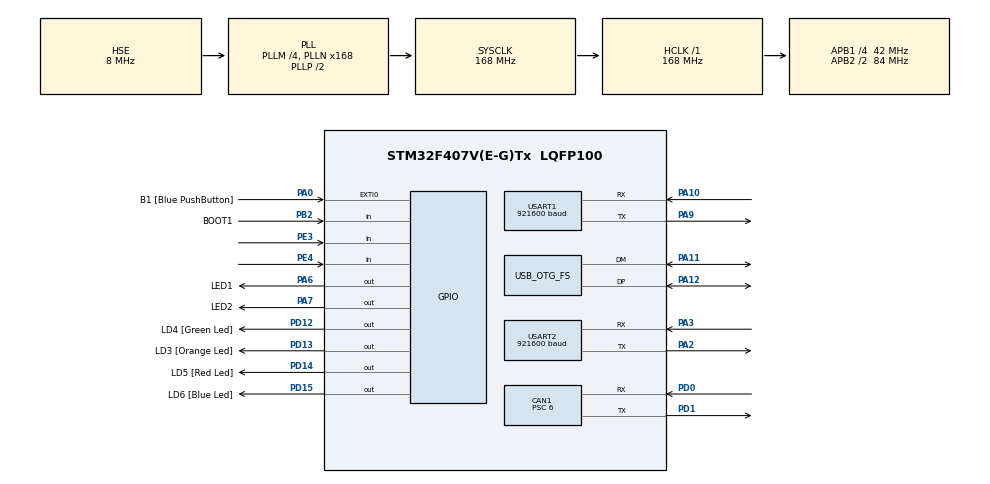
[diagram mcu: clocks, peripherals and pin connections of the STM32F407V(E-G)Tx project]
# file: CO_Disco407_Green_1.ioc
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CAN1.BS1=CAN_BS1_11TQ
CAN1.BS2=CAN_BS2_2TQ
CAN1.CalculateBaudRate=500000
CAN1.CalculateTimeBit=2000
CAN1.CalculateTimeQuantum=142.85714285714286
CAN1.Prescaler=6
Dma.Request0=USART1_RX
Dma.Request1=USART1_TX
Dma.Request2=USART2_TX
Dma.Request3=USART2_RX
Dma.USART1_RX.0.Direction=DMA_PERIPH_TO_MEMORY
Dma.USART1_RX.0.FIFOMode=DMA_FIFOMODE_DISABLE
Dma.USART1_RX.0.Instance=DMA2_Stream2
Dma.USART1_RX.0.MemDataAlignment=DMA_MDATAALIGN_BYTE
Dma.USART1_RX.0.MemInc=DMA_MINC_ENABLE
Dma.USART1_RX.0.Mode=DMA_NORMAL
Dma.USART1_RX.0.PeriphDataAlignment=DMA_PDATAALIGN_BYTE
Dma.USART1_RX.0.PeriphInc=DMA_PINC_DISABLE
Dma.USART1_RX.0.Priority=DMA_PRIORITY_LOW
Dma.USART1_TX.1.Direction=DMA_MEMORY_TO_PERIPH
Dma.USART1_TX.1.FIFOMode=DMA_FIFOMODE_DISABLE
Dma.USART1_TX.1.Instance=DMA2_Stream7
Dma.USART1_TX.1.MemDataAlignment=DMA_MDATAALIGN_BYTE
Dma.USART1_TX.1.MemInc=DMA_MINC_ENABLE
Dma.USART1_TX.1.Mode=DMA_NORMAL
Dma.USART1_TX.1.PeriphDataAlignment=DMA_PDATAALIGN_BYTE
Dma.USART1_TX.1.PeriphInc=DMA_PINC_DISABLE
Dma.USART1_TX.1.Priority=DMA_PRIORITY_LOW
Dma.USART2_RX.3.Direction=DMA_PERIPH_TO_MEMORY
Dma.USART2_RX.3.FIFOMode=DMA_FIFOMODE_DISABLE
Dma.USART2_RX.3.Instance=DMA1_Stream5
Dma.USART2_RX.3.MemDataAlignment=DMA_MDATAALIGN_BYTE
Dma.USART2_RX.3.MemInc=DMA_MINC_ENABLE
Dma.USART2_RX.3.Mode=DMA_NORMAL
Dma.USART2_RX.3.PeriphDataAlignment=DMA_PDATAALIGN_BYTE
Dma.USART2_RX.3.PeriphInc=DMA_PINC_DISABLE
Dma.USART2_RX.3.Priority=DMA_PRIORITY_LOW
Dma.USART2_TX.2.Direction=DMA_MEMORY_TO_PERIPH
Dma.USART2_TX.2.FIFOMode=DMA_FIFOMODE_DISABLE
Dma.USART2_TX.2.Instance=DMA1_Stream6
Dma.USART2_TX.2.MemDataAlignment=DMA_MDATAALIGN_BYTE
Dma.USART2_TX.2.MemInc=DMA_MINC_ENABLE
Dma.USART2_TX.2.Mode=DMA_NORMAL
Dma.USART2_TX.2.PeriphDataAlignment=DMA_PDATAALIGN_BYTE
Dma.USART2_TX.2.PeriphInc=DMA_PINC_DISABLE
Dma.USART2_TX.2.Priority=DMA_PRIORITY_LOW
Mcu.Family=STM32F4
Mcu.Name=STM32F407V(E-G)Tx
Mcu.Package=LQFP100
NVIC.CAN1_RX0_IRQn=true\:0\:0\:false\:false\:true\:true\:true\:true
NVIC.CAN1_RX1_IRQn=true\:0\:0\:false\:false\:true\:true\:true\:true
NVIC.CAN1_SCE_IRQn=true\:0\:0\:false\:false\:true\:true\:true\:true
NVIC.CAN1_TX_IRQn=true\:0\:0\:false\:false\:true\:true\:true\:true
NVIC.DMA1_Stream5_IRQn=true\:0\:0\:false\:false\:true\:false\:true\:true
NVIC.DMA1_Stream6_IRQn=true\:0\:0\:false\:false\:true\:false\:true\:true
NVIC.DMA2_Stream2_IRQn=true\:0\:0\:false\:false\:true\:false\:true\:true
NVIC.DMA2_Stream7_IRQn=true\:0\:0\:false\:false\:true\:false\:true\:true
NVIC.OTG_FS_IRQn=true\:0\:0\:false\:false\:true\:false\:true\:true
NVIC.PriorityGroup=NVIC_PRIORITYGROUP_0
NVIC.TIM4_IRQn=true\:0\:0\:false\:false\:true\:true\:true\:true
NVIC.TIM8_TRG_COM_TIM14_IRQn=true\:0\:0\:false\:false\:true\:true\:true\:true
NVIC.USART1_IRQn=true\:0\:0\:false\:false\:true\:true\:true\:true
NVIC.USART2_IRQn=true\:0\:0\:false\:false\:true\:true\:true\:true
PA0-WKUP.GPIO_Label=B1 [Blue PushButton]
PA0-WKUP.GPIO_ModeDefaultEXTI=GPIO_MODE_EVT_RISING
PA0-WKUP.GPIO_PuPd=GPIO_NOPULL
PA0-WKUP.Signal=GPXTI0
PA10.Mode=Asynchronous
PA10.Signal=USART1_RX
PA11.Mode=Device_Only
PA11.Signal=USB_OTG_FS_DM
PA12.Mode=Device_Only
PA12.Signal=USB_OTG_FS_DP
PA13.GPIO_Label=SWDIO
PA13.Mode=Serial_Wire
PA13.Signal=SYS_JTMS-SWDIO
PA14.GPIO_Label=SWCLK
PA14.Mode=Serial_Wire
PA14.Signal=SYS_JTCK-SWCLK
PA2.Mode=Asynchronous
PA2.Signal=USART2_TX
PA3.Mode=Asynchronous
PA3.Signal=USART2_RX
PA6.GPIO_Label=LED1
PA6.PinState=GPIO_PIN_SET
PA6.Signal=GPIO_Output
PA7.GPIO_Label=LED2
PA7.PinState=GPIO_PIN_SET
PA7.Signal=GPIO_Output
PA9.Mode=Asynchronous
PA9.Signal=USART1_TX
PB2.GPIO_Label=BOOT1
PB2.GPIO_Mode=GPIO_MODE_INPUT
PB2.GPIO_PuPd=GPIO_NOPULL
PB2.Signal=GPIO_Input
PB3.GPIO_Label=SWO
PB3.Signal=SYS_JTDO-SWO
PB5.Signal=CAN2_RX
PC14-OSC32_IN.GPIO_Label=PC14-OSC32_IN
PC14-OSC32_IN.Mode=LSE-External-Oscillator
PC14-OSC32_IN.Signal=RCC_OSC32_IN
PC15-OSC32_OUT.GPIO_Label=PC15-OSC32_OUT
PC15-OSC32_OUT.Mode=LSE-External-Oscillator
PC15-OSC32_OUT.Signal=RCC_OSC32_OUT
PD0.Mode=CAN_Activate
PD0.Signal=CAN1_RX
PD1.Mode=CAN_Activate
PD1.Signal=CAN1_TX
PD12.GPIO_Label=LD4 [Green Led]
PD12.GPIO_PuPd=GPIO_NOPULL
PD12.GPIO_Speed=GPIO_SPEED_FREQ_LOW
PD12.Signal=GPIO_Output
PD13.GPIO_Label=LD3 [Orange Led]
PD13.GPIO_PuPd=GPIO_NOPULL
PD13.GPIO_Speed=GPIO_SPEED_FREQ_LOW
PD13.Signal=GPIO_Output
PD14.GPIO_Label=LD5 [Red Led]
PD14.GPIO_PuPd=GPIO_NOPULL
PD14.GPIO_Speed=GPIO_SPEED_FREQ_LOW
PD14.Signal=GPIO_Output
PD15.GPIO_Label=LD6 [Blue Led]
PD15.GPIO_PuPd=GPIO_NOPULL
PD15.GPIO_Speed=GPIO_SPEED_FREQ_LOW
PD15.Signal=GPIO_Output
PE3.GPIO_PuPd=GPIO_PULLUP
PE3.Signal=GPIO_Input
PE4.GPIO_PuPd=GPIO_PULLUP
PE4.Signal=GPIO_Input
PH0-OSC_IN.GPIO_Label=PH0-OSC_IN
PH0-OSC_IN.Mode=HSE-External-Oscillator
PH0-OSC_IN.Signal=RCC_OSC_IN
PH1-OSC_OUT.GPIO_Label=PH1-OSC_OUT
PH1-OSC_OUT.Mode=HSE-External-Oscillator
PH1-OSC_OUT.Signal=RCC_OSC_OUT
ProjectManager.HeapSize=0x800
ProjectManager.StackSize=0x800
ProjectManager.TargetToolchain=STM32CubeIDE
RCC.48MHZClocksFreq_Value=48000000
RCC.AHBFreq_Value=168000000
RCC.APB1CLKDivider=RCC_HCLK_DIV4
RCC.APB1Freq_Value=42000000
RCC.APB1TimFreq_Value=84000000
RCC.APB2CLKDivider=RCC_HCLK_DIV2
RCC.APB2Freq_Value=84000000
RCC.APB2TimFreq_Value=168000000
RCC.CortexFreq_Value=168000000
RCC.HCLKFreq_Value=168000000
RCC.HSE_VALUE=8000000
RCC.HSI_VALUE=16000000
RCC.PLLI2SN=50
RCC.PLLM=4
RCC.PLLN=168
RCC.PLLQ=7
RCC.SYSCLKFreq_VALUE=168000000
RCC.SYSCLKSource=RCC_SYSCLKSOURCE_PLLCLK
RCC.VCOOutputFreq_Value=336000000
TIM14.Period=999
TIM14.Prescaler=167
TIM4.Period=999
TIM4.Prescaler=167
TIM4.TIM_MasterOutputTrigger=TIM_TRGO_UPDATE
USART1.BaudRate=921600
USART1.StopBits=STOPBITS_2
USART1.VirtualMode=VM_ASYNC
USART2.BaudRate=921600
USART2.StopBits=STOPBITS_2
USART2.VirtualMode=VM_ASYNC
USB_DEVICE.APP_RX_DATA_SIZE-CDC_FS=2048
USB_DEVICE.CLASS_NAME_FS=CDC
USB_DEVICE.VirtualMode-CDC_FS=Cdc
USB_DEVICE.VirtualModeFS=Cdc_FS
USB_OTG_FS.VirtualMode=Device_Only
VP_TIM14_VS_ClockSourceINT.Mode=Enable_Timer
VP_TIM4_VS_ClockSourceINT.Mode=Internal
VP_USB_DEVICE_VS_USB_DEVICE_CDC_FS.Mode=CDC_FS
board=STM32F407G-DISC1

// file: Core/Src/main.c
/* USER CODE BEGIN Header */
/**
  ******************************************************************************
  * @file           : main.c
  * @brief          : Main program body
  ******************************************************************************
  * @attention
  *
  * Copyright (c) 2024 STMicroelectronics.
  * All rights reserved.
  *
  * This software is licensed under terms that can be found in the LICENSE file
  * in the root directory of this software component.
  * If no LICENSE file comes with this software, it is provided AS-IS.
  *
  *
  *		Discovery_F407green__EvolutionBoard_Original
  *
  *			NodeID = 0x3E
  *
  ******************************************************************************
  */
/* USER CODE END Header */
#include "main.h"
#include "usb_device.h"

/* USER CODE BEGIN Includes */
#include "CO_app_STM32.h"
#include "301/CO_SDOclient.h"
#include "CANopen.h"
#include "OD.h"
#include "format_out.h"
/* USER CODE END Includes */

/* USER CODE BEGIN PD */

#define CO_Aliex_Disco407green	0x3A
#define CO_Disco407_Blue		0x3b
#define CO_Lower__f407xx		0x3c
#define CO_Upper_F407XX			0x3d
#define CO_Disco407_Green_1		0x3e

#define Make_Read_SDO			1
#define TerminalInterface		huart2
/* USER CODE END PD */

CAN_HandleTypeDef hcan1;

TIM_HandleTypeDef htim4;
TIM_HandleTypeDef htim14;

UART_HandleTypeDef huart1;
UART_HandleTypeDef huart2;
DMA_HandleTypeDef hdma_usart1_rx;
DMA_HandleTypeDef hdma_usart1_tx;
DMA_HandleTypeDef hdma_usart2_tx;
DMA_HandleTypeDef hdma_usart2_rx;

/* USER CODE BEGIN PV */

uint8_t Tx_Array[16]={0x5a,0x6b,0x7c,0x86,0x5f,0x43,0x8e,0x58,0x69,0x70,0x81,0x92,0xf3,0xc4,0xc5,0xc3};
uint8_t Rx_Array[16]={0x43,0x8e,0x58,0x69,0x70};
uint32_t Array_32u[16]={0};
uint8_t Array_8u[16]={0x54,0x34,0x21,0xea,0xf3,0x7a,0xd4,0x46};
char Message_to_Terminal[128]={};
uint8_t Length_of_Message;
uint8_t Length_of_Ext_Var=0;
uint8_t Local_Count=0;

CO_SDO_abortCode_t  Code_return_SDO;
CAN_TxHeaderTypeDef Tx_Header;
uint32_t            TxMailbox;
uint32_t            tmp32u_1   = 0x1e1f1a1b;
uint32_t            tmp32u_0   = 0x0e0f0a0b;
uint64_t            tmp64u_0   = 0x0e1f1a1b56789a;
uint64_t            tmp64u_1   = 0x0e1f1a1b56789a;
uint32_t            Ticks;
char String_L[]={"String_for_Test_UART_"};
/* USER CODE END PV */

void SystemClock_Config(void);
static void MX_GPIO_Init(void);
static void MX_DMA_Init(void);
static void MX_TIM14_Init(void);
static void MX_CAN1_Init(void);
static void MX_USART1_UART_Init(void);
static void MX_USART2_UART_Init(void);
static void MX_TIM4_Init(void);
/* USER CODE BEGIN PFP */
void CAN_interface_Test(void);
void UART_interface_Test(void);
void GPIO_Blink_Test(GPIO_TypeDef* GPIOx, uint16_t GPIO_Pin, uint8_t Count_of_Blink, uint16_t Period_of_blink_ms);
void Board_Name_to_Terminal(void);
void CO_Init_Return_State(uint16_t Returned_Code);
void SDO_abortCode_ASCII_to_Terminal(void);

CO_SDO_abortCode_t	read_SDO	(
								  CO_SDOclient_t* SDO_C,
								  uint8_t nodeId, 	//Remote_NodeID
								  uint16_t index,	//OD_Index_of_entire_at_Remote_NodeID
								  uint8_t subIndex, // OD_SubIndex_of_entire_at_Remote_NodeID
								  uint8_t* buf, 	//Saved_Data_Array
								  size_t bufSize, 	//Number_of_Bytes_Read_from_Remote_NodeID
								  size_t* readSize 	//pointer_at_Number_of_Bytes_to_save
								  );

CO_SDO_abortCode_t	write_SDO 	(
								CO_SDOclient_t* SDO_C,
								uint8_t nodeId, 	//Remote_NodeID
								uint16_t index,	//OD_Index_of_entire_at_Remote_NodeID
								uint8_t subIndex, // OD_SubIndex_of_entire_at_Remote_NodeID
								uint8_t* data,	//Data_Array_to_write_into_entire_at_Remote_NodeID
								size_t dataSize	//Number_of_Bytes_write_into_entire_at_Remote_NodeID
								);

/* USER CODE END PFP */

/* USER CODE BEGIN 0 */
/* Timer interrupt function executes every 1 ms */
void
HAL_TIM_PeriodElapsedCallback(TIM_HandleTypeDef* htim) {
    if (htim == canopenNodeSTM32->timerHandle) {
        canopen_app_interrupt();

    }
}

/* USER CODE END 0 */

int main(void)
{

  /* MCU Configuration--------------------------------------------------------*/

  /* Reset of all peripherals, Initializes the Flash interface and the Systick. */
  HAL_Init();

  /* Configure the system clock */
  SystemClock_Config();

  /* Initialize all configured peripherals */
  MX_GPIO_Init();
  MX_DMA_Init();
  MX_TIM14_Init();
  MX_CAN1_Init();
  MX_USART1_UART_Init();
  MX_USB_DEVICE_Init();
  MX_USART2_UART_Init();
  MX_TIM4_Init();
  /* USER CODE BEGIN 2 */

  /* CANHandle : Pass in the CAN Handle to this function and it wil be used for all CAN Communications.
   * It can be FDCan or CAN and CANOpenSTM32 Driver will take of care of handling that
   *
   * HWInitFunction : Pass in the function that initialize the CAN peripheral, usually MX_CAN_Init
   *
   * timerHandle : Pass in the timer that is going to be used for generating 1ms interrupt for tmrThread function,
   * please note that CANOpenSTM32 Library will override HAL_TIM_PeriodElapsedCallback function,
   * if you also need this function in your codes, please take required steps
   *
   * desiredNodeID : This is the Node ID that you ask the CANOpen stack to assign to your device, although it might not always
   * be the final NodeID, after calling canopen_app_init() you should check ActiveNodeID of CANopenNodeSTM32 structure for assigned Node ID.
   *
   * baudrate: This is the baudrate you've set in your CubeMX Configuration
   *
   */

//  UART_interface_Test(); while(1){;}
//  CAN_interface_Test();

//   GPIO_Blink_Test(GPIOA, GPIO_PIN_7|GPIO_PIN_6, 25, 33); //for_STM32F4XX_Ali_pcb
  GPIO_Blink_Test(GPIOD, GPIO_PIN_12|GPIO_PIN_13|GPIO_PIN_14|GPIO_PIN_15, 25, 33);// blink_at_Discovery_EVB

  Board_Name_to_Terminal();

   HAL_TIM_Base_Start_IT(&htim4);

   CANopenNodeSTM32 canOpenNodeSTM32;
   canOpenNodeSTM32.CANHandle = &hcan1;
   canOpenNodeSTM32.HWInitFunction = MX_CAN1_Init;
   canOpenNodeSTM32.timerHandle = &htim4;
   canOpenNodeSTM32.desiredNodeID = CO_Disco407_Green_1;//		0x3e
   canOpenNodeSTM32.baudrate = 125*4;
   uint16_t Ret_value = canopen_app_init(&canOpenNodeSTM32);
   CO_Init_Return_State(Ret_value);

  /* USER CODE END 2 */

  /* Infinite loop */
  /* USER CODE BEGIN WHILE */

#if Make_Read_SDO
   canopen_app_process();

	  read_SDO (
			    canOpenNodeSTM32.canOpenStack->SDOclient,
				CO_Disco407_Blue,							//Remote_NodeID=0x3b
				0x600E,										//Index_of_OD_variable_Disco_Blue_VAR64_600e_TX at_remote_Node
				0,											//Sub_Index_of_OD_variable
				Rx_Array,									//Saved_Received_Data
				4,											//Number_of_Byte_to_read
				(size_t*)&Length_of_Ext_Var );  HAL_Delay(100);

	  write_SDO(
			    canOpenNodeSTM32.canOpenStack->SDOclient,
				CO_Disco407_Blue,							//Remote_NodeID=0x3b
				0x600E,										//Index_of_OD_variable_Disco_Blue_VAR64_600e_TX at_remote_Node
				0,											//Sub_Index_of_OD_variablee
				Array_8u,									//Data_Source
				4);	  HAL_Delay(100);

	  read_SDO (
			    canOpenNodeSTM32.canOpenStack->SDOclient,
				CO_Disco407_Blue,							//Remote_NodeID=0x3b
				0x600E,										//Index_of_OD_variable_Disco_Blue_VAR64_600e_TX at_remote_Node
				0,											//Sub_Index_of_OD_variable
				Rx_Array,									//Saved_Received_Data
				4,											//Number_of_Byte_to_read
				(size_t*)&Length_of_Ext_Var );  HAL_Delay(100);

	  TerminalInterface.gState = HAL_UART_STATE_READY;
	  HAL_UART_Transmit_DMA( &TerminalInterface, (uint8_t*)Rx_Array, 8);
      HAL_Delay(100);
#endif

      Local_Count=0;
		  OD_PERSIST_COMM.x6000_ALiex_Disco_VAR32_6000=0;

		  while (1)
		  {
			 // HAL_GPIO_WritePin(GPIOA, GPIO_PIN_6, !canOpenNodeSTM32.outStatusLEDGreen);
			  HAL_GPIO_WritePin(GPIOD, GPIO_PIN_12, !canOpenNodeSTM32.outStatusLEDGreen);
			 // HAL_GPIO_WritePin(GPIOA, GPIO_PIN_7, !canOpenNodeSTM32.outStatusLEDRed  );//yellow
			  HAL_GPIO_WritePin(GPIOD, GPIO_PIN_14, !canOpenNodeSTM32.outStatusLEDRed  );
//		         HAL_GPIO_TogglePin(GPIOA, GPIO_PIN_6 );//LED1_Pin___//LED1_GPIO_Port//green

			canopen_app_process();

//			if(tmp32u_1 != OD_PERSIST_COMM.x6001_nucleo_VAR32_6001)
//				{
//				tmp32u_1 = OD_PERSIST_COMM.x6001_nucleo_VAR32_6001;
//				TerminalInterface.gState = HAL_UART_STATE_READY;
//				HAL_UART_Transmit_DMA( &TerminalInterface, (uint8_t*)(&tmp32u_1), 4);
//				}

			  if(HAL_GetTick() - Ticks>749)
			  {
				Ticks = HAL_GetTick();

				OD_PERSIST_COMM.x6000_ALiex_Disco_VAR32_6000++;

				tmp32u_0 = OD_PERSIST_COMM.x6000_ALiex_Disco_VAR32_6000;

				//CO_TPDOsendRequest(&canOpenNodeSTM32.canOpenStack->TPDO[0] );

				TerminalInterface.gState = HAL_UART_STATE_READY;
				HAL_UART_Transmit_DMA( &TerminalInterface, (uint8_t*)( &tmp32u_0 ), 4);

				Local_Count++;
				Local_Count = Local_Count%4;

				if(Local_Count==0){
									OD_PERSIST_COMM.x6039_ALiex_Disco_Array[0]++;
								  }

				CO_TPDOsendRequest(&canOpenNodeSTM32.canOpenStack->TPDO[Local_Count] );
			  }

    /* USER CODE END WHILE */

  }
}

void SystemClock_Config(void)
{
  RCC_OscInitTypeDef RCC_OscInitStruct = {0};
  RCC_ClkInitTypeDef RCC_ClkInitStruct = {0};

  /** Configure the main internal regulator output voltage
  */
  __HAL_RCC_PWR_CLK_ENABLE();
  __HAL_PWR_VOLTAGESCALING_CONFIG(PWR_REGULATOR_VOLTAGE_SCALE1);

  /** Initializes the RCC Oscillators according to the specified parameters
  * in the RCC_OscInitTypeDef structure.
  */
  RCC_OscInitStruct.OscillatorType = RCC_OSCILLATORTYPE_HSE;
  RCC_OscInitStruct.HSEState = RCC_HSE_ON;
  RCC_OscInitStruct.PLL.PLLState = RCC_PLL_ON;
  RCC_OscInitStruct.PLL.PLLSource = RCC_PLLSOURCE_HSE;
  RCC_OscInitStruct.PLL.PLLM = 4;
  RCC_OscInitStruct.PLL.PLLN = 168;
  RCC_OscInitStruct.PLL.PLLP = RCC_PLLP_DIV2;
  RCC_OscInitStruct.PLL.PLLQ = 7;
  if (HAL_RCC_OscConfig(&RCC_OscInitStruct) != HAL_OK)
  {
    Error_Handler();
  }

  /** Initializes the CPU, AHB and APB buses clocks
  */
  RCC_ClkInitStruct.ClockType = RCC_CLOCKTYPE_HCLK|RCC_CLOCKTYPE_SYSCLK
                              |RCC_CLOCKTYPE_PCLK1|RCC_CLOCKTYPE_PCLK2;
  RCC_ClkInitStruct.SYSCLKSource = RCC_SYSCLKSOURCE_PLLCLK;
  RCC_ClkInitStruct.AHBCLKDivider = RCC_SYSCLK_DIV1;
  RCC_ClkInitStruct.APB1CLKDivider = RCC_HCLK_DIV4;
  RCC_ClkInitStruct.APB2CLKDivider = RCC_HCLK_DIV2;

  if (HAL_RCC_ClockConfig(&RCC_ClkInitStruct, FLASH_LATENCY_5) != HAL_OK)
  {
    Error_Handler();
  }
}

static void MX_CAN1_Init(void)
{

  hcan1.Instance = CAN1;
  hcan1.Init.Prescaler = 6;
  hcan1.Init.Mode = CAN_MODE_NORMAL;
  hcan1.Init.SyncJumpWidth = CAN_SJW_1TQ;
  hcan1.Init.TimeSeg1 = CAN_BS1_11TQ;
  hcan1.Init.TimeSeg2 = CAN_BS2_2TQ;
  hcan1.Init.TimeTriggeredMode = DISABLE;
  hcan1.Init.AutoBusOff = DISABLE;
  hcan1.Init.AutoWakeUp = DISABLE;
  hcan1.Init.AutoRetransmission = DISABLE;
  hcan1.Init.ReceiveFifoLocked = DISABLE;
  hcan1.Init.TransmitFifoPriority = DISABLE;
  if (HAL_CAN_Init(&hcan1) != HAL_OK)
  {
    Error_Handler();
  }

}

static void MX_TIM4_Init(void)
{

  TIM_ClockConfigTypeDef sClockSourceConfig = {0};
  TIM_MasterConfigTypeDef sMasterConfig = {0};

  htim4.Instance = TIM4;
  htim4.Init.Prescaler = 167;
  htim4.Init.CounterMode = TIM_COUNTERMODE_UP;
  htim4.Init.Period = 999;
  htim4.Init.ClockDivision = TIM_CLOCKDIVISION_DIV1;
  htim4.Init.AutoReloadPreload = TIM_AUTORELOAD_PRELOAD_DISABLE;
  if (HAL_TIM_Base_Init(&htim4) != HAL_OK)
  {
    Error_Handler();
  }
  sClockSourceConfig.ClockSource = TIM_CLOCKSOURCE_INTERNAL;
  if (HAL_TIM_ConfigClockSource(&htim4, &sClockSourceConfig) != HAL_OK)
  {
    Error_Handler();
  }
  sMasterConfig.MasterOutputTrigger = TIM_TRGO_UPDATE;
  sMasterConfig.MasterSlaveMode = TIM_MASTERSLAVEMODE_DISABLE;
  if (HAL_TIMEx_MasterConfigSynchronization(&htim4, &sMasterConfig) != HAL_OK)
  {
    Error_Handler();
  }

}

static void MX_TIM14_Init(void)
{

  htim14.Instance = TIM14;
  htim14.Init.Prescaler = 167;
  htim14.Init.CounterMode = TIM_COUNTERMODE_UP;
  htim14.Init.Period = 999;
  htim14.Init.ClockDivision = TIM_CLOCKDIVISION_DIV1;
  htim14.Init.AutoReloadPreload = TIM_AUTORELOAD_PRELOAD_DISABLE;
  if (HAL_TIM_Base_Init(&htim14) != HAL_OK)
  {
    Error_Handler();
  }

}

static void MX_USART1_UART_Init(void)
{

  huart1.Instance = USART1;
  huart1.Init.BaudRate = 921600;
  huart1.Init.WordLength = UART_WORDLENGTH_8B;
  huart1.Init.StopBits = UART_STOPBITS_2;
  huart1.Init.Parity = UART_PARITY_NONE;
  huart1.Init.Mode = UART_MODE_TX_RX;
  huart1.Init.HwFlowCtl = UART_HWCONTROL_NONE;
  huart1.Init.OverSampling = UART_OVERSAMPLING_16;
  if (HAL_UART_Init(&huart1) != HAL_OK)
  {
    Error_Handler();
  }

}

static void MX_USART2_UART_Init(void)
{

  huart2.Instance = USART2;
  huart2.Init.BaudRate = 921600;
  huart2.Init.WordLength = UART_WORDLENGTH_8B;
  huart2.Init.StopBits = UART_STOPBITS_2;
  huart2.Init.Parity = UART_PARITY_NONE;
  huart2.Init.Mode = UART_MODE_TX_RX;
  huart2.Init.HwFlowCtl = UART_HWCONTROL_NONE;
  huart2.Init.OverSampling = UART_OVERSAMPLING_16;
  if (HAL_UART_Init(&huart2) != HAL_OK)
  {
    Error_Handler();
  }

}

static void MX_DMA_Init(void)
{

  /* DMA controller clock enable */
  __HAL_RCC_DMA2_CLK_ENABLE();
  __HAL_RCC_DMA1_CLK_ENABLE();

  /* DMA interrupt init */
  /* DMA1_Stream5_IRQn interrupt configuration */
  HAL_NVIC_SetPriority(DMA1_Stream5_IRQn, 0, 0);
  HAL_NVIC_EnableIRQ(DMA1_Stream5_IRQn);
  /* DMA1_Stream6_IRQn interrupt configuration */
  HAL_NVIC_SetPriority(DMA1_Stream6_IRQn, 0, 0);
  HAL_NVIC_EnableIRQ(DMA1_Stream6_IRQn);
  /* DMA2_Stream2_IRQn interrupt configuration */
  HAL_NVIC_SetPriority(DMA2_Stream2_IRQn, 0, 0);
  HAL_NVIC_EnableIRQ(DMA2_Stream2_IRQn);
  /* DMA2_Stream7_IRQn interrupt configuration */
  HAL_NVIC_SetPriority(DMA2_Stream7_IRQn, 0, 0);
  HAL_NVIC_EnableIRQ(DMA2_Stream7_IRQn);

}

static void MX_GPIO_Init(void)
{
  GPIO_InitTypeDef GPIO_InitStruct = {0};

  /* GPIO Ports Clock Enable */
  __HAL_RCC_GPIOE_CLK_ENABLE();
  __HAL_RCC_GPIOC_CLK_ENABLE();
  __HAL_RCC_GPIOH_CLK_ENABLE();
  __HAL_RCC_GPIOA_CLK_ENABLE();
  __HAL_RCC_GPIOB_CLK_ENABLE();
  __HAL_RCC_GPIOD_CLK_ENABLE();

  /*Configure GPIO pin Output Level */
  HAL_GPIO_WritePin(GPIOA, LED1_Pin|LED2_Pin, GPIO_PIN_SET);

  /*Configure GPIO pin Output Level */
  HAL_GPIO_WritePin(GPIOD, LD4_Pin|LD3_Pin|LD5_Pin|LD6_Pin, GPIO_PIN_RESET);

  /*Configure GPIO pins : PE3 PE4 */
  GPIO_InitStruct.Pin = GPIO_PIN_3|GPIO_PIN_4;
  GPIO_InitStruct.Mode = GPIO_MODE_INPUT;
  GPIO_InitStruct.Pull = GPIO_PULLUP;
  HAL_GPIO_Init(GPIOE, &GPIO_InitStruct);

  /*Configure GPIO pin : B1_Pin */
  GPIO_InitStruct.Pin = B1_Pin;
  GPIO_InitStruct.Mode = GPIO_MODE_EVT_RISING;
  GPIO_InitStruct.Pull = GPIO_NOPULL;
  HAL_GPIO_Init(B1_GPIO_Port, &GPIO_InitStruct);

  /*Configure GPIO pins : LED1_Pin LED2_Pin */
  GPIO_InitStruct.Pin = LED1_Pin|LED2_Pin;
  GPIO_InitStruct.Mode = GPIO_MODE_OUTPUT_PP;
  GPIO_InitStruct.Pull = GPIO_NOPULL;
  GPIO_InitStruct.Speed = GPIO_SPEED_FREQ_LOW;
  HAL_GPIO_Init(GPIOA, &GPIO_InitStruct);

  /*Configure GPIO pin : BOOT1_Pin */
  GPIO_InitStruct.Pin = BOOT1_Pin;
  GPIO_InitStruct.Mode = GPIO_MODE_INPUT;
  GPIO_InitStruct.Pull = GPIO_NOPULL;
  HAL_GPIO_Init(BOOT1_GPIO_Port, &GPIO_InitStruct);

  /*Configure GPIO pins : LD4_Pin LD3_Pin LD5_Pin LD6_Pin */
  GPIO_InitStruct.Pin = LD4_Pin|LD3_Pin|LD5_Pin|LD6_Pin;
  GPIO_InitStruct.Mode = GPIO_MODE_OUTPUT_PP;
  GPIO_InitStruct.Pull = GPIO_NOPULL;
  GPIO_InitStruct.Speed = GPIO_SPEED_FREQ_LOW;
  HAL_GPIO_Init(GPIOD, &GPIO_InitStruct);

  /*Configure GPIO pin : PB5 */
  GPIO_InitStruct.Pin = GPIO_PIN_5;
  GPIO_InitStruct.Mode = GPIO_MODE_AF_PP;
  GPIO_InitStruct.Pull = GPIO_NOPULL;
  GPIO_InitStruct.Speed = GPIO_SPEED_FREQ_VERY_HIGH;
  GPIO_InitStruct.Alternate = GPIO_AF9_CAN2;
  HAL_GPIO_Init(GPIOB, &GPIO_InitStruct);

}

/* USER CODE BEGIN 4 */

//////////////////////////////////////////////////////////////////////////////////////////////////////////////

CO_SDO_abortCode_t	read_SDO	(
								  CO_SDOclient_t* SDO_C,
								  uint8_t nodeId, 	//Remote_NodeID
								  uint16_t index,	//OD_Index_of_entire_at_Remote_NodeID
								  uint8_t subIndex, // OD_SubIndex_of_entire_at_Remote_NodeID
								  uint8_t* buf, 	//Saved_Data_Array
								  size_t bufSize, 	//Number_of_Bytes_Read_from_Remote_NodeID
								  size_t* readSize 	//pointer_at_Number_of_Bytes_to_save
								  )
{
    CO_SDO_return_t SDO_ret;

    // setup client (this can be skipped, if remote device don't change)
    SDO_ret = CO_SDOclient_setup (
    								SDO_C, CO_CAN_ID_SDO_CLI + nodeId,
									CO_CAN_ID_SDO_SRV + nodeId,
									nodeId);

    if (SDO_ret != CO_SDO_RT_ok_communicationEnd) { return CO_SDO_AB_GENERAL; }

    // initiate upload
    SDO_ret = CO_SDOclientUploadInitiate ( SDO_C,
    										index,
											subIndex,
											1000,
											false);

    if (SDO_ret != CO_SDO_RT_ok_communicationEnd) { return CO_SDO_AB_GENERAL; }

    // upload data
    do 	{
        uint32_t timeDifference_us = 10000;
        CO_SDO_abortCode_t abortCode = CO_SDO_AB_NONE;

        SDO_ret = CO_SDOclientUpload(SDO_C, timeDifference_us, false, &abortCode, NULL, NULL, NULL);

        if (SDO_ret < 0) {  return abortCode;  }

        HAL_Delay(timeDifference_us/1000);// sleep_us(timeDifference_us);

    	} while (SDO_ret > 0);

    // copy data to the user buffer (for long data function must be called several times inside the loop)
    *readSize = CO_SDOclientUploadBufRead(SDO_C, buf, bufSize);

    return CO_SDO_AB_NONE;
}

//////////////////////////////////////////////////////////////////////////////////////////////////////////////

CO_SDO_abortCode_t	write_SDO 	(
								CO_SDOclient_t* SDO_C,
								uint8_t nodeId, 	// Remote_NodeID
								uint16_t index,		// OD_Index_of_entire_at_Remote_NodeID
								uint8_t subIndex, 	// OD_SubIndex_of_entire_at_Remote_NodeID
								uint8_t* data,		// Data_Array_to_write_into_entire_at_Remote_NodeID
								size_t dataSize		// Number_of_Bytes_write_into_entire_at_Remote_NodeID
								)
{
    CO_SDO_return_t SDO_ret;
    bool_t bufferPartial = false;

    // setup client (this can be skipped, if remote device is the same)
    SDO_ret = CO_SDOclient_setup (	SDO_C,
    								CO_CAN_ID_SDO_CLI + nodeId,
									CO_CAN_ID_SDO_SRV + nodeId,
									nodeId);

    if (SDO_ret != CO_SDO_RT_ok_communicationEnd) { return -1; }

    // initiate download
    SDO_ret = CO_SDOclientDownloadInitiate(SDO_C, index, subIndex, dataSize, 1000, false);

    if (SDO_ret != CO_SDO_RT_ok_communicationEnd) /**< Success, end of communication. SDO client: uploaded data must be read. */
    	{ return -1; }

    // fill data
    size_t nWritten = CO_SDOclientDownloadBufWrite(SDO_C, data, dataSize);

    if (nWritten < dataSize) { bufferPartial = true; } // If SDO Fifo buffer is too small, data can be refilled in the loop.

    // download data
    do {
        uint32_t timeDifference_us = 10000;
        CO_SDO_abortCode_t abortCode = CO_SDO_AB_NONE;

        SDO_ret = CO_SDOclientDownload (	SDO_C,
        									timeDifference_us,
											false, bufferPartial,
											&abortCode,
											NULL,
											NULL
										);

        if (SDO_ret < 0) {  return abortCode;}

        HAL_Delay(timeDifference_us/1000); //sleep_us(timeDifference_us);

       } while (SDO_ret > 0);

    return CO_SDO_AB_NONE;
}

//////////////////////////////////////////////////////////
void CAN_interface_Test(void)
{

 Tx_Header.IDE    = CAN_ID_STD;
 Tx_Header.ExtId  = 0;
 Tx_Header.DLC    = 8;
 Tx_Header.StdId  = 0x7EC;
 Tx_Header.RTR    = CAN_RTR_DATA;
 HAL_CAN_Start(&hcan1);  HAL_Delay(1500);

 if(HAL_CAN_AddTxMessage( &hcan1,
   		               &Tx_Header,
							Tx_Array, &TxMailbox )==HAL_OK
 	 )
	  {  /* Wait transmission complete */
	  //while(HAL_CAN_GetTxMailboxesFreeLevel(&hcan1) != 3) {}
		  for(uint8_t cnt=0;cnt<22;cnt++)
		  {
		   HAL_GPIO_TogglePin(LED2_GPIO_Port, LED2_Pin);//LED2_Pin//yellow
		   HAL_Delay(46);
		  }
	  }
}

//////////////////////////////////////////////

void UART_interface_Test(void)
{
	// Test_Terminal__ASCII
	  Length_of_Message = sprintf( Message_to_Terminal,
			  	  	  	  	  	  	  "Rx_Array[0]=0x%x, Rx_Array[1]= 0x%x, Rx_Array[2]= 0x%x, Rx_Array[3]= 0x%x \n\r",
									   Rx_Array[0],Rx_Array[1],Rx_Array[2],Rx_Array[3]
								 );
	  TerminalInterface.gState = HAL_UART_STATE_READY;
	  HAL_UART_Transmit_DMA( &TerminalInterface, (uint8_t*)Message_to_Terminal, Length_of_Message);

//    Test_Terminal__HEX
//
//	  HAL_Delay(500);
//	  Local_Count = sizeof String_L;
//	  String_L[Local_Count-1] = 0x0d;
//	  TerminalInterface.gState = HAL_DMA_STATE_READY;
//	  HAL_UART_Transmit_DMA( &TerminalInterface, (uint8_t*)(String_L), Local_Count);

}

//////////////////////////////////////////////

void GPIO_Blink_Test(GPIO_TypeDef* GPIOx, uint16_t GPIO_Pin, uint8_t Count_of_Blink, uint16_t Period_of_blink_ms)
{
	for(uint8_t cnt=0;cnt<Count_of_Blink;cnt++)
	{
	HAL_GPIO_TogglePin(GPIOx, GPIO_Pin );
	HAL_Delay(Period_of_blink_ms);
	}
	  //HAL_GPIO_WritePin(GPIOx, GPIO_Pin, GPIO_PIN_SET);
	  HAL_GPIO_WritePin(GPIOx, GPIO_Pin, GPIO_PIN_RESET);
}

//////////////////////////////////////////////////
void Board_Name_to_Terminal(void)
{
	const char Message_0[]={"   ******************************************\n\r"};
//	const char Message_1[]={"*  Upper Blackboard  STM32F4XX___Ali     *\n\r"};
//	const char Message_1[]={"*  Lower Blackboard  STM32F4XX___Ali     *\n\r"};
	//const char Message_1[]={"*  STM32F4DISCOVERY Green_board China    *\n\r"};
	//	const char Message_1[]={"*  STM32F4DISCOVERY Blue_board Original  *\n\r"};
		const char Message_1[]={"*  STM32F4DISCOVERY Green_board Original *\n\r"};
	char Array_for_Messages[128]={};
	uint16_t Msg_Length;
//	uint32_t Chip_ID_96bit[4]={};
//	uint16_t  *pChip_ID_96bit =(uint16_t*)Chip_ID_96bit ;

//	Chip_ID_96bit[0] = HAL_GetUIDw0();
//	Chip_ID_96bit[1] = HAL_GetUIDw1();
//	Chip_ID_96bit[2] = HAL_GetUIDw2();

	while(TerminalInterface.gState != HAL_UART_STATE_READY){;}
	Msg_Length = sizeof(Message_0);
	HAL_UART_Transmit_DMA( &TerminalInterface, (uint8_t*)Message_0, Msg_Length);

	while(TerminalInterface.gState != HAL_UART_STATE_READY){;}
	Msg_Length = sizeof(Message_1);
	HAL_UART_Transmit_DMA( &TerminalInterface, (uint8_t*)Message_1, Msg_Length);

	while(TerminalInterface.gState != HAL_UART_STATE_READY){;}
	Msg_Length = sprintf( Array_for_Messages,
			  	  	  	  "*  SystemClock = %d MHz                 *\n\r",
						  (uint16_t)(HAL_RCC_GetSysClockFreq()/1000000)
						);
	HAL_UART_Transmit_DMA( &TerminalInterface, (uint8_t*)Array_for_Messages, Msg_Length);

	while(TerminalInterface.gState != HAL_UART_STATE_READY){;}
	Msg_Length = sprintf( Array_for_Messages,
			  	  	  	  "   *  Unical_ID %X%X%X%X%X%X        *\n\r",
						  (uint16_t)(HAL_GetUIDw2()>>16),(uint16_t)(HAL_GetUIDw2() & 0x0000FFFF),
						  (uint16_t)(HAL_GetUIDw1()>>16),(uint16_t)(HAL_GetUIDw1() & 0x0000FFFF),
						  (uint16_t)(HAL_GetUIDw0()>>16),(uint16_t)(HAL_GetUIDw0() & 0x0000FFFF)

						);
	HAL_UART_Transmit_DMA( &TerminalInterface, (uint8_t*)Array_for_Messages, Msg_Length);

	while(TerminalInterface.gState != HAL_UART_STATE_READY){;}
	Msg_Length = sprintf( Array_for_Messages,
			  	  	  	  "   *  Device identifier %X%X                *\n\r",
						  (uint16_t)(HAL_GetDEVID()>>16), (uint16_t)(HAL_GetDEVID() & 0x0000FFFF)
						);
	HAL_UART_Transmit_DMA( &TerminalInterface, (uint8_t*)Array_for_Messages, Msg_Length);

	while(TerminalInterface.gState != HAL_UART_STATE_READY){;}
	Msg_Length = sprintf( Array_for_Messages,
			  	  	  	  "   *  Device revision identifier %X%X      *\n\r",
						  (uint16_t)( HAL_GetREVID()>>16 ),
						  (uint16_t)( HAL_GetREVID() & 0x0000FFFF )
						);
	HAL_UART_Transmit_DMA( &TerminalInterface, (uint8_t*)Array_for_Messages, Msg_Length);

	Msg_Length = sizeof(Message_0);
	while(TerminalInterface.gState != HAL_UART_STATE_READY){;}
	HAL_UART_Transmit_DMA( &TerminalInterface, (uint8_t*)Message_0, Msg_Length);

	while(TerminalInterface.gState != HAL_UART_STATE_READY){;}
	Array_for_Messages[0]=0x0a;		Array_for_Messages[1]=0x0d;
	Array_for_Messages[2]=0x0a;		Array_for_Messages[3]=0x0d;
	Array_for_Messages[4]=0x0a;		Array_for_Messages[5]=0x0d;
	HAL_UART_Transmit_DMA( &TerminalInterface, (uint8_t*)(Array_for_Messages), 6);
	while(TerminalInterface.gState != HAL_UART_STATE_READY){;}
}

//////////////////////////////////////////////////////
//////////////////////////////////////////////////
void CO_Init_Return_State(uint16_t Returned_Code)
{
	uint16_t Lngth_of_Message;
	char Msg_2_Terminal[400];
	   if (Returned_Code==0){
	   const uint8_t Msg_0[]="canopen_app_init OK\n\r";
	   Lngth_of_Message = sizeof(Msg_0);
	   	  while(TerminalInterface.gState != HAL_UART_STATE_READY){;}
	   	  HAL_UART_Transmit_DMA( &TerminalInterface, Msg_0, Lngth_of_Message);
	   	 }else if(Returned_Code==1) {
	   		const uint8_t Msg_1[]="Error: Can't allocate memory\n\r";
	   		Lngth_of_Message = sizeof(Msg_1);
	   		 while(TerminalInterface.gState != HAL_UART_STATE_READY){;}
	   		  HAL_UART_Transmit_DMA( &TerminalInterface, Msg_1, Lngth_of_Message);
	   		 }else if(Returned_Code==2) {
	   			const uint8_t Msg_2[]="Error: Storage %d\n\r";
	   			Lngth_of_Message = sizeof(Msg_2);
	   			 while(TerminalInterface.gState != HAL_UART_STATE_READY){;}
	   			  HAL_UART_Transmit_DMA( &TerminalInterface, Msg_2, Lngth_of_Message);
	   			 }else{;}

		while(TerminalInterface.gState != HAL_UART_STATE_READY){;}
	   Lngth_of_Message = sprintf( Msg_2_Terminal,
		  	  	  "   *  CANopenNodeSTM32 canOpenNodeSTM32;        *\n\r"
		  	  	  "   *  .CANHandle = &hcan1;                      *\n\r"
		  	  	  "   *  .HWInitFunction = MX_CAN1_Init            *\n\r"
		  	  	  "   *  .timerHandle = &htim4                     *\n\r"
		  	  	  "   *  .baudrate = 500kbps                       *\n\r"
		  	  	  "   *  .desiredNodeID = CO_Disco407_Blue;//0x3b; *\n\r"
		  	  	  "   *  canopen_app_init(&canOpenNodeSTM32);      *\n\r\n\r\n\r"
			   );
		HAL_UART_Transmit_DMA( &TerminalInterface, (uint8_t*)Msg_2_Terminal, Lngth_of_Message);
		while(TerminalInterface.gState != HAL_UART_STATE_READY){;}
}

///////////////////////////////////////////////////

void SDO_abortCode_ASCII_to_Terminal(void)
{
	char Message_2_Terminal[128];
	uint8_t Message_Length;
while(TerminalInterface.gState != HAL_UART_STATE_READY){;}
Message_Length = SDO_abortCode_to_String(Code_return_SDO,  Message_2_Terminal);
HAL_UART_Transmit_DMA( &TerminalInterface, (uint8_t*)Message_2_Terminal, Message_Length);
}
//////////////////////////////////////////

/* USER CODE END 4 */

void Error_Handler(void)
{
  __disable_irq();
  while (1)
  {
  }
}
